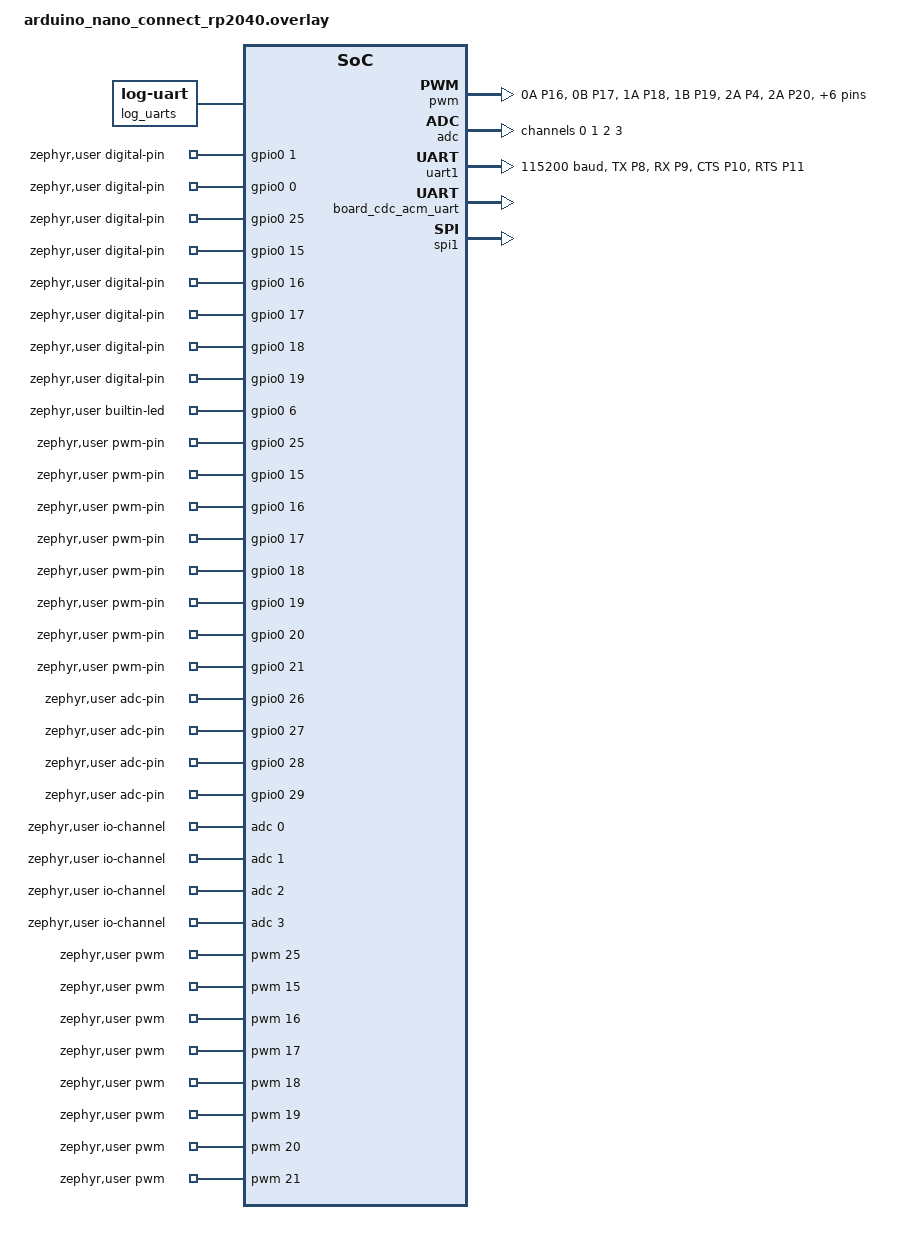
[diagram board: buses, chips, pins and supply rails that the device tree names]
/*
 * Copyright (c) Arduino s.r.l. and/or its affiliated companies
 *
 * SPDX-License-Identifier: Apache-2.0
 */

#include <zephyr/dt-bindings/adc/adc.h>

/ {
	chosen {
		zephyr,log-uart = &log_uarts;
	};

	log_uarts: log_uarts {
		compatible = "zephyr,log-uart";
		uarts = <&uart0 &board_cdc_acm_uart>;
	};

	/*
	 * RP2040 PIO-based PDM microphone
	 * CLK -> GPIO23 (D23), DIN -> GPIO22 (D22)
	 */
	dmic_dev: pdm_pio {
		compatible = "raspberrypi,rp2040-pdm";
		status = "okay";
		clk-pin = <23>;
		din-pin = <22>;
		pio-num = <0>;
		gain = <16>;
	};

	zephyr,user {
		/*
		 * Arduino Nano RP2040 Connect pin mapping
		 * Arduino Pin -> RP2040 GPIO
		 */
		digital-pin-gpios = <&gpio0 1 0>,   /* D0  - RX */
				    <&gpio0 0 0>,   /* D1  - TX */
				    <&gpio0 25 0>,  /* D2 */
				    <&gpio0 15 0>,  /* D3 */
				    <&gpio0 16 0>,  /* D4 */
				    <&gpio0 17 0>,  /* D5 */
				    <&gpio0 18 0>,  /* D6 */
				    <&gpio0 19 0>,  /* D7 */
				    <&gpio0 20 0>,  /* D8 */
				    <&gpio0 21 0>,  /* D9 */
				    <&gpio0 5 0>,   /* D10 - SPI SS */
				    <&gpio0 7 0>,   /* D11 - SPI MOSI */
				    <&gpio0 4 0>,   /* D12 - SPI MISO */
				    <&gpio0 6 0>,   /* D13 - SPI SCK / LED */
				    <&gpio0 26 0>,  /* D14 / A0 */
				    <&gpio0 27 0>,  /* D15 / A1 */
				    <&gpio0 28 0>,  /* D16 / A2 */
				    <&gpio0 29 0>,  /* D17 / A3 */
				    <&gpio0 12 0>,  /* D18 / A4 / SDA */
				    <&gpio0 13 0>,  /* D19 / A5 / SCL */
				    <&gpio0 2 0>,   /* D20 - NINA GPIO0 */
				    <&gpio0 24 0>,  /* D21 - IMU IRQ */
				    <&gpio0 22 0>,  /* D22 - PDM DIN */
				    <&gpio0 23 0>,  /* D23 - PDM CLK */
				    <&gpio0 3 0>,   /* D24 - NINA RESET */
				    <&gpio0 8 0>,   /* D25 - NINA SPI MISO */
				    <&gpio0 9 0>,   /* D26 - NINA SPI CS */
				    <&gpio0 10 0>,  /* D27 - NINA SPI ACK */
				    <&gpio0 11 0>,  /* D28 - NINA SPI MOSI */
				    <&gpio0 14 0>;  /* D29 - NINA SPI SCK */

		builtin-led-gpios = <&gpio0 6 0>;  /* D13 = GPIO6 */

		/*
		 * PWM-capable pins on Arduino Nano RP2040 Connect
		 * Listed by Arduino pin number with corresponding GPIO
		 */
		pwm-pin-gpios =     <&gpio0 25 0>,  /* D2  -> GPIO25 -> PWM4B */
				    <&gpio0 15 0>,  /* D3  -> GPIO15 -> PWM7B */
				    <&gpio0 16 0>,  /* D4  -> GPIO16 -> PWM0A */
				    <&gpio0 17 0>,  /* D5  -> GPIO17 -> PWM0B */
				    <&gpio0 18 0>,  /* D6  -> GPIO18 -> PWM1A */
				    <&gpio0 19 0>,  /* D7  -> GPIO19 -> PWM1B */
				    <&gpio0 20 0>,  /* D8  -> GPIO20 -> PWM2A */
				    <&gpio0 21 0>,  /* D9  -> GPIO21 -> PWM2B */
				    <&gpio0 5 0>,   /* D10 -> GPIO5  -> PWM2B */
				    <&gpio0 7 0>,   /* D11 -> GPIO7  -> PWM3B */
				    <&gpio0 4 0>,   /* D12 -> GPIO4  -> PWM2A */
				    <&gpio0 6 0>;   /* D13 -> GPIO6  -> PWM3A (LED) */

		adc-pin-gpios =     <&gpio0 26 0>,  /* A0 -> GPIO26 -> ADC0 */
				    <&gpio0 27 0>,  /* A1 -> GPIO27 -> ADC1 */
				    <&gpio0 28 0>,  /* A2 -> GPIO28 -> ADC2 */
				    <&gpio0 29 0>;  /* A3 -> GPIO29 -> ADC3 */

		pwms =  <&pwm 25 255 PWM_POLARITY_NORMAL>,  /* D2  GPIO25 */
			<&pwm 15 255 PWM_POLARITY_NORMAL>,  /* D3  GPIO15 */
			<&pwm 16 255 PWM_POLARITY_NORMAL>,  /* D4  GPIO16 */
			<&pwm 17 255 PWM_POLARITY_NORMAL>,  /* D5  GPIO17 */
			<&pwm 18 255 PWM_POLARITY_NORMAL>,  /* D6  GPIO18 */
			<&pwm 19 255 PWM_POLARITY_NORMAL>,  /* D7  GPIO19 */
			<&pwm 20 255 PWM_POLARITY_NORMAL>,  /* D8  GPIO20 */
			<&pwm 21 255 PWM_POLARITY_NORMAL>,  /* D9  GPIO21 */
			<&pwm 5 255 PWM_POLARITY_NORMAL>,   /* D10 GPIO5  */
			<&pwm 7 255 PWM_POLARITY_NORMAL>,   /* D11 GPIO7  */
			<&pwm 4 255 PWM_POLARITY_NORMAL>,   /* D12 GPIO4  */
			<&pwm 6 255 PWM_POLARITY_NORMAL>;   /* D13 GPIO6  */

		io-channels =   <&adc 0>,  /* A0 */
				<&adc 1>,  /* A1 */
				<&adc 2>,  /* A2 */
				<&adc 3>;  /* A3 */

		serials = <&uart0>, <&uart1>, <&uart2>;
		cdc-acm-serial = <&board_cdc_acm_uart>;
		i2cs = <&i2c0>;
		spis = <&spi0>, <&spi1>;
	};
};

&pinctrl {
	/*
	 * Additional PWM pin control for Arduino analogWrite()
	 * PWM slice assignment: GPIO / 2 (integer division)
	 * PWM channel: A if GPIO even, B if GPIO odd
	 */

	/* D4 -> GPIO16 -> PWM0A */
	pwm_ch0a_default: pwm_ch0a_default {
		group1 {
			pinmux = <PWM_0A_P16>;
		};
	};

	/* D5 -> GPIO17 -> PWM0B */
	pwm_ch0b_default: pwm_ch0b_default {
		group1 {
			pinmux = <PWM_0B_P17>;
		};
	};

	/* D6 -> GPIO18 -> PWM1A */
	pwm_ch1a_default: pwm_ch1a_default {
		group1 {
			pinmux = <PWM_1A_P18>;
		};
	};

	/* D7 -> GPIO19 -> PWM1B */
	pwm_ch1b_default: pwm_ch1b_default {
		group1 {
			pinmux = <PWM_1B_P19>;
		};
	};

	/*
	 * D8 -> GPIO20 -> PWM2A,
	 * D12 -> GPIO4 -> PWM2A
	 */
	pwm_ch2a_default: pwm_ch2a_default {
		group1 {
			pinmux = <PWM_2A_P4>, <PWM_2A_P20>;
		};
	};

	/* D9 -> GPIO21 -> PWM2B, D10 -> GPIO5 -> PWM2B */
	pwm_ch2b_default: pwm_ch2b_default {
		group1 {
			pinmux = <PWM_2B_P5>, <PWM_2B_P21>;
		};
	};

	/* D13 -> GPIO6 -> PWM3A (LED) */
	pwm_ch3a_default: pwm_ch3a_default {
		group1 {
			pinmux = <PWM_3A_P6>;
		};
	};

	/* D11 -> GPIO7 -> PWM3B */
	pwm_ch3b_default: pwm_ch3b_default {
		group1 {
			pinmux = <PWM_3B_P7>;
		};
	};

	/* D2 -> GPIO25 -> PWM4B */
	pwm_ch4b_default: pwm_ch4b_default {
		group1 {
			pinmux = <PWM_4B_P25>;
		};
	};

	/* D3 -> GPIO15 -> PWM7B */
	pwm_ch7b_default: pwm_ch7b_default {
		group1 {
			pinmux = <PWM_7B_P15>;
		};
	};

	/*
	 * UART1 pin control (NINA module)
	 * TX  -> GPIO8
	 * RX  -> GPIO9
	 * CTS -> GPIO10
	 * RTS -> GPIO11
	 */
	uart1_default: uart1_default {
		group1 {
			pinmux = <UART1_TX_P8>;
		};
		group2 {
			pinmux = <UART1_RX_P9>;
			input-enable;
		};
		group3 {
			pinmux = <UART1_CTS_P10>;
			input-enable;
		};
		group4 {
			pinmux = <UART1_RTS_P11>;
		};
	};

};

&pwm {
	status = "okay";
	pinctrl-0 = <&pwm_ch0a_default &pwm_ch0b_default
		     &pwm_ch1a_default &pwm_ch1b_default
		     &pwm_ch2a_default &pwm_ch2b_default
		     &pwm_ch3a_default &pwm_ch3b_default
		     &pwm_ch4b_default &pwm_ch7b_default>;
	pinctrl-names = "default";
	divider-frac-4 = <15>;
	divider-int-4 = <255>;
};

&adc {
	#address-cells = <1>;
	#size-cells = <0>;

	/* A0 -> GPIO26 -> ADC0 */
	channel@0 {
		reg = <0>;
		zephyr,gain = "ADC_GAIN_1";
		zephyr,reference = "ADC_REF_INTERNAL";
		zephyr,acquisition-time = <ADC_ACQ_TIME_DEFAULT>;
		zephyr,resolution = <12>;
	};

	/* A1 -> GPIO27 -> ADC1 */
	channel@1 {
		reg = <1>;
		zephyr,gain = "ADC_GAIN_1";
		zephyr,reference = "ADC_REF_INTERNAL";
		zephyr,acquisition-time = <ADC_ACQ_TIME_DEFAULT>;
		zephyr,resolution = <12>;
	};

	/* A2 -> GPIO28 -> ADC2 */
	channel@2 {
		reg = <2>;
		zephyr,gain = "ADC_GAIN_1";
		zephyr,reference = "ADC_REF_INTERNAL";
		zephyr,acquisition-time = <ADC_ACQ_TIME_DEFAULT>;
		zephyr,resolution = <12>;
	};

	/* A3 -> GPIO29 -> ADC3 */
	channel@3 {
		reg = <3>;
		zephyr,gain = "ADC_GAIN_1";
		zephyr,reference = "ADC_REF_INTERNAL";
		zephyr,acquisition-time = <ADC_ACQ_TIME_DEFAULT>;
		zephyr,resolution = <12>;
	};
};

/* UART1 for NINA module */
&uart1 {
	status = "okay";
	pinctrl-0 = <&uart1_default>;
	pinctrl-names = "default";
	current-speed = <115200>;
	hw-flow-control;
};

&zephyr_udc0 {
	board_cdc_acm_uart: board_cdc_acm_uart {
		compatible = "zephyr,cdc-acm-uart";
	};
};

&flash0 {
	partitions {
		user_sketch: partition@e0000 {
			compatible = "zephyr,mapped-partition";
			reg = <0x0E0000 0x20000>;
		};
	};
};

nina_spi: &spi1 {
	status = "okay";
	/delete-node/ nina_w102@0;
};

/*
 * Alias for NINA WiFi UART (uart1) without hardware flow control,
 * used for firmware flashing mode. Normal operation uses uart1 directly
 * (with hw-flow-control enabled above). Having both lets Arduino sketch
 * code select the right configuration at compile time.
 */
uart2: &uart1 {
	/delete-node/ nina_prog;
};
